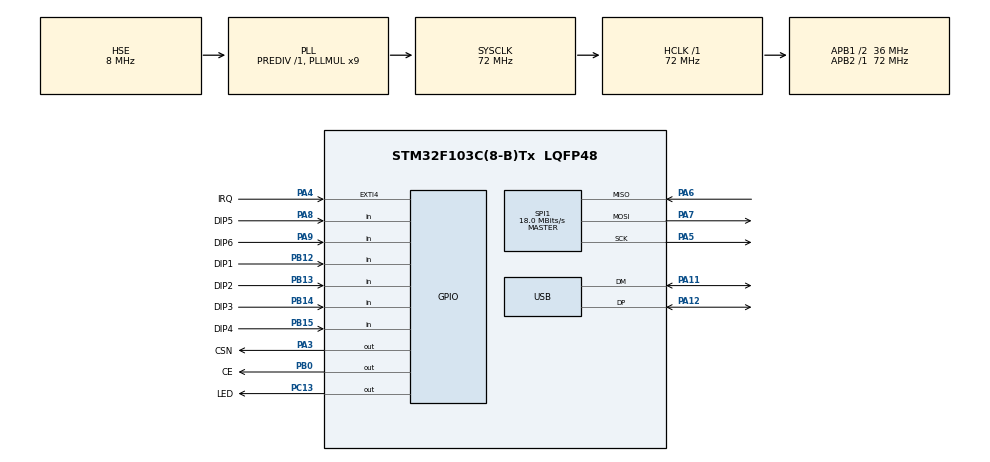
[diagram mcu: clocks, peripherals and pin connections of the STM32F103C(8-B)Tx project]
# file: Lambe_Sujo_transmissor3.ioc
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Mcu.Family=STM32F1
Mcu.Name=STM32F103C(8-B)Tx
Mcu.Package=LQFP48
NVIC.PriorityGroup=NVIC_PRIORITYGROUP_4
NVIC.USB_LP_CAN1_RX0_IRQn=true\:0\:0\:false\:false\:true\:false\:true\:true
PA11.Mode=Device
PA11.Signal=USB_DM
PA12.Mode=Device
PA12.Signal=USB_DP
PA3.GPIO_Label=CSN
PA3.GPIO_PuPd=GPIO_NOPULL
PA3.Signal=GPIO_Output
PA4.GPIO_Label=IRQ
PA4.GPIO_PuPd=GPIO_NOPULL
PA4.Signal=GPXTI4
PA5.Mode=Full_Duplex_Master
PA5.Signal=SPI1_SCK
PA6.Mode=Full_Duplex_Master
PA6.Signal=SPI1_MISO
PA7.Mode=Full_Duplex_Master
PA7.Signal=SPI1_MOSI
PA8.GPIO_Label=DIP5
PA8.GPIO_PuPd=GPIO_PULLUP
PA8.Signal=GPIO_Input
PA9.GPIO_Label=DIP6
PA9.GPIO_PuPd=GPIO_PULLUP
PA9.Signal=GPIO_Input
PB0.GPIO_Label=CE
PB0.GPIO_ModeDefaultOutputPP=GPIO_MODE_OUTPUT_PP
PB0.GPIO_PuPd=GPIO_NOPULL
PB0.Signal=GPIO_Output
PB12.GPIO_Label=DIP1
PB12.GPIO_PuPd=GPIO_PULLUP
PB12.Signal=GPIO_Input
PB13.GPIO_Label=DIP2
PB13.GPIO_PuPd=GPIO_PULLUP
PB13.Signal=GPIO_Input
PB14.GPIO_Label=DIP3
PB14.GPIO_PuPd=GPIO_PULLUP
PB14.Signal=GPIO_Input
PB15.GPIO_Label=DIP4
PB15.GPIO_PuPd=GPIO_PULLUP
PB15.Signal=GPIO_Input
PC13-TAMPER-RTC.GPIO_Label=LED
PC13-TAMPER-RTC.Signal=GPIO_Output
PD0-OSC_IN.Mode=HSE-External-Oscillator
PD0-OSC_IN.Signal=RCC_OSC_IN
PD1-OSC_OUT.Mode=HSE-External-Oscillator
PD1-OSC_OUT.Signal=RCC_OSC_OUT
ProjectManager.HeapSize=0x200
ProjectManager.StackSize=0x400
ProjectManager.TargetToolchain=STM32CubeIDE
RCC.AHBFreq_Value=72000000
RCC.APB1CLKDivider=RCC_HCLK_DIV2
RCC.APB1Freq_Value=36000000
RCC.APB1TimFreq_Value=72000000
RCC.APB2Freq_Value=72000000
RCC.APB2TimFreq_Value=72000000
RCC.HCLKFreq_Value=72000000
RCC.PLLMUL=RCC_PLL_MUL9
RCC.SYSCLKFreq_VALUE=72000000
RCC.SYSCLKSource=RCC_SYSCLKSOURCE_PLLCLK
RCC.USBFreq_Value=48000000
RCC.USBPrescaler=RCC_USBCLKSOURCE_PLL_DIV1_5
SPI1.BaudRatePrescaler=SPI_BAUDRATEPRESCALER_4
SPI1.CalculateBaudRate=18.0 MBits/s
SPI1.Direction=SPI_DIRECTION_2LINES
SPI1.Mode=SPI_MODE_MASTER
SPI1.VirtualType=VM_MASTER
USB_DEVICE.CLASS_NAME_FS=CDC
USB_DEVICE.VirtualMode=Cdc
USB_DEVICE.VirtualModeFS=Cdc_FS
VP_USB_DEVICE_VS_USB_DEVICE_CDC_FS.Mode=CDC_FS
board=custom

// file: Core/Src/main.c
/* USER CODE BEGIN Header */
/**
  ******************************************************************************
  * @file           : main.c
  * @brief          : Main program body
  ******************************************************************************
  * @attention
  *
  * Copyright (c) 2023 STMicroelectronics.
  * All rights reserved.
  *
  * This software is licensed under terms that can be found in the LICENSE file
  * in the root directory of this software component.
  * If no LICENSE file comes with this software, it is provided AS-IS.
  *
  ******************************************************************************
  */
/* USER CODE END Header */
#include "main.h"
#include "usb_device.h"

/* USER CODE BEGIN Includes */
#include "nrf24l01.h"
#include "usbd_cdc_if.h"

#define confimacao_byte 255
/* USER CODE END Includes */

SPI_HandleTypeDef hspi1;

/* USER CODE BEGIN PV */
nrf24 nrfTx;

uint8_t txAddr[] = { 0xEA, 0xDD, 0xCC, 0x20, 0x23 };
uint8_t txData[11];
/* USER CODE END PV */

void SystemClock_Config(void);
static void MX_GPIO_Init(void);
static void MX_SPI1_Init(void);

int main(void)
{

  /* MCU Configuration--------------------------------------------------------*/

  /* Reset of all peripherals, Initializes the Flash interface and the Systick. */
  HAL_Init();

  /* Configure the system clock */
  SystemClock_Config();

  /* Initialize all configured peripherals */
  MX_GPIO_Init();
  MX_SPI1_Init();
  MX_USB_DEVICE_Init();
  /* USER CODE BEGIN 2 */
	nrfTx.CE_port = CE_GPIO_Port;
	nrfTx.CE_pin = CE_Pin;
	nrfTx.CSN_port = CSN_GPIO_Port;
	nrfTx.CSN_pin = CSN_Pin;
	nrfTx.IRQ_port = IRQ_GPIO_Port;
	nrfTx.IRQ_pin = IRQ_Pin;
	nrfTx.hSPIx = &hspi1;

	nrf24_init(&nrfTx);
	nrf24_setTxAddr(&nrfTx, txAddr);
	nrf24_setMode(&nrfTx, txMode);
  /* USER CODE END 2 */

  /* Infinite loop */
  while (1)
  {

    /* USER CODE BEGIN 3 */
	  if(txData[0] == confimacao_byte){

		CDC_Transmit_FS(txData,11);
		if (nrf24_Transmit(&nrfTx, txData,11) == 1) {
			HAL_GPIO_TogglePin(LED_GPIO_Port, LED_Pin);
		}
		memset(txData,0,11);

	  }
  }
  /* USER CODE END 3 */
}

void SystemClock_Config(void)
{
  RCC_OscInitTypeDef RCC_OscInitStruct = {0};
  RCC_ClkInitTypeDef RCC_ClkInitStruct = {0};
  RCC_PeriphCLKInitTypeDef PeriphClkInit = {0};

  /** Initializes the RCC Oscillators according to the specified parameters
  * in the RCC_OscInitTypeDef structure.
  */
  RCC_OscInitStruct.OscillatorType = RCC_OSCILLATORTYPE_HSE;
  RCC_OscInitStruct.HSEState = RCC_HSE_ON;
  RCC_OscInitStruct.HSEPredivValue = RCC_HSE_PREDIV_DIV1;
  RCC_OscInitStruct.HSIState = RCC_HSI_ON;
  RCC_OscInitStruct.PLL.PLLState = RCC_PLL_ON;
  RCC_OscInitStruct.PLL.PLLSource = RCC_PLLSOURCE_HSE;
  RCC_OscInitStruct.PLL.PLLMUL = RCC_PLL_MUL9;
  if (HAL_RCC_OscConfig(&RCC_OscInitStruct) != HAL_OK)
  {
    Error_Handler();
  }

  /** Initializes the CPU, AHB and APB buses clocks
  */
  RCC_ClkInitStruct.ClockType = RCC_CLOCKTYPE_HCLK|RCC_CLOCKTYPE_SYSCLK
                              |RCC_CLOCKTYPE_PCLK1|RCC_CLOCKTYPE_PCLK2;
  RCC_ClkInitStruct.SYSCLKSource = RCC_SYSCLKSOURCE_PLLCLK;
  RCC_ClkInitStruct.AHBCLKDivider = RCC_SYSCLK_DIV1;
  RCC_ClkInitStruct.APB1CLKDivider = RCC_HCLK_DIV2;
  RCC_ClkInitStruct.APB2CLKDivider = RCC_HCLK_DIV1;

  if (HAL_RCC_ClockConfig(&RCC_ClkInitStruct, FLASH_LATENCY_2) != HAL_OK)
  {
    Error_Handler();
  }
  PeriphClkInit.PeriphClockSelection = RCC_PERIPHCLK_USB;
  PeriphClkInit.UsbClockSelection = RCC_USBCLKSOURCE_PLL_DIV1_5;
  if (HAL_RCCEx_PeriphCLKConfig(&PeriphClkInit) != HAL_OK)
  {
    Error_Handler();
  }
}

static void MX_SPI1_Init(void)
{

  /* SPI1 parameter configuration*/
  hspi1.Instance = SPI1;
  hspi1.Init.Mode = SPI_MODE_MASTER;
  hspi1.Init.Direction = SPI_DIRECTION_2LINES;
  hspi1.Init.DataSize = SPI_DATASIZE_8BIT;
  hspi1.Init.CLKPolarity = SPI_POLARITY_LOW;
  hspi1.Init.CLKPhase = SPI_PHASE_1EDGE;
  hspi1.Init.NSS = SPI_NSS_SOFT;
  hspi1.Init.BaudRatePrescaler = SPI_BAUDRATEPRESCALER_4;
  hspi1.Init.FirstBit = SPI_FIRSTBIT_MSB;
  hspi1.Init.TIMode = SPI_TIMODE_DISABLE;
  hspi1.Init.CRCCalculation = SPI_CRCCALCULATION_DISABLE;
  hspi1.Init.CRCPolynomial = 10;
  if (HAL_SPI_Init(&hspi1) != HAL_OK)
  {
    Error_Handler();
  }

}

static void MX_GPIO_Init(void)
{
  GPIO_InitTypeDef GPIO_InitStruct = {0};

  /* GPIO Ports Clock Enable */
  __HAL_RCC_GPIOC_CLK_ENABLE();
  __HAL_RCC_GPIOD_CLK_ENABLE();
  __HAL_RCC_GPIOA_CLK_ENABLE();
  __HAL_RCC_GPIOB_CLK_ENABLE();

  /*Configure GPIO pin Output Level */
  HAL_GPIO_WritePin(LED_GPIO_Port, LED_Pin, GPIO_PIN_RESET);

  /*Configure GPIO pin Output Level */
  HAL_GPIO_WritePin(CSN_GPIO_Port, CSN_Pin, GPIO_PIN_RESET);

  /*Configure GPIO pin Output Level */
  HAL_GPIO_WritePin(CE_GPIO_Port, CE_Pin, GPIO_PIN_RESET);

  /*Configure GPIO pin : LED_Pin */
  GPIO_InitStruct.Pin = LED_Pin;
  GPIO_InitStruct.Mode = GPIO_MODE_OUTPUT_PP;
  GPIO_InitStruct.Pull = GPIO_NOPULL;
  GPIO_InitStruct.Speed = GPIO_SPEED_FREQ_LOW;
  HAL_GPIO_Init(LED_GPIO_Port, &GPIO_InitStruct);

  /*Configure GPIO pin : CSN_Pin */
  GPIO_InitStruct.Pin = CSN_Pin;
  GPIO_InitStruct.Mode = GPIO_MODE_OUTPUT_PP;
  GPIO_InitStruct.Pull = GPIO_NOPULL;
  GPIO_InitStruct.Speed = GPIO_SPEED_FREQ_LOW;
  HAL_GPIO_Init(CSN_GPIO_Port, &GPIO_InitStruct);

  /*Configure GPIO pin : IRQ_Pin */
  GPIO_InitStruct.Pin = IRQ_Pin;
  GPIO_InitStruct.Mode = GPIO_MODE_IT_RISING;
  GPIO_InitStruct.Pull = GPIO_NOPULL;
  HAL_GPIO_Init(IRQ_GPIO_Port, &GPIO_InitStruct);

  /*Configure GPIO pin : CE_Pin */
  GPIO_InitStruct.Pin = CE_Pin;
  GPIO_InitStruct.Mode = GPIO_MODE_OUTPUT_PP;
  GPIO_InitStruct.Pull = GPIO_NOPULL;
  GPIO_InitStruct.Speed = GPIO_SPEED_FREQ_LOW;
  HAL_GPIO_Init(CE_GPIO_Port, &GPIO_InitStruct);

  /*Configure GPIO pins : DIP1_Pin DIP2_Pin DIP3_Pin DIP4_Pin */
  GPIO_InitStruct.Pin = DIP1_Pin|DIP2_Pin|DIP3_Pin|DIP4_Pin;
  GPIO_InitStruct.Mode = GPIO_MODE_INPUT;
  GPIO_InitStruct.Pull = GPIO_PULLUP;
  HAL_GPIO_Init(GPIOB, &GPIO_InitStruct);

  /*Configure GPIO pins : DIP5_Pin DIP6_Pin */
  GPIO_InitStruct.Pin = DIP5_Pin|DIP6_Pin;
  GPIO_InitStruct.Mode = GPIO_MODE_INPUT;
  GPIO_InitStruct.Pull = GPIO_PULLUP;
  HAL_GPIO_Init(GPIOA, &GPIO_InitStruct);

}

void Error_Handler(void)
{
  __disable_irq();
  while (1)
  {
  }
}
